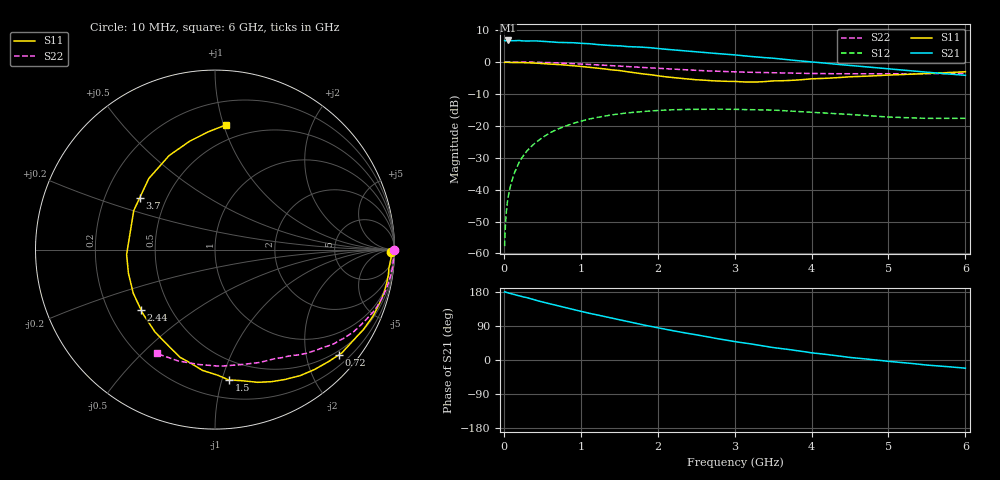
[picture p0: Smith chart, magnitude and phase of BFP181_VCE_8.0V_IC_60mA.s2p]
! Infineon Technologies  Discrete & RF Semiconductors
! BFP181
! VCE = 8.0 V,  IC =  60 mA
! Common Emitter S-Parameters:  Jan 2016
# GHz  S  MA  R  50
!  f  S11  S21  S12  S22
! GHz  MAG  ANG  MAG  ANG  MAG  ANG  MAG  ANG
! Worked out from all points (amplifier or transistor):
!   210 points, 10 MHz to 6 GHz, reference 50 ohm
!   highest |S21| = 6.7 dB at 50 MHz (marker M1)
!   |S21| within 3 dB of that: start of sweep to 2.23 GHz
!   unconditionally stable (mu >= 1): 3.662 GHz to end of sweep
!   at 185 MHz: K = 0.06, MSG = 19.4 dB, |S12| = -32.1 dB
!   at 1.52 GHz: K = 0.45, MSG = 10.6 dB, |S12| = -16.3 dB
!   at 6 GHz: K = 1.38, MAG = 3.1 dB, |S12| = -17.7 dB
!   S11 on the Smith chart (normalised r, x): 10 MHz: 73, -45; 720 MHz: 0.41, -2.67; 1.5 GHz: 0.34, -1.05; 2.44 GHz: 0.34, -0.32; 3.7 GHz: 0.35, +0.27; 6 GHz: 0.38, +1.02
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0.01  0.9803 -0.7  2.147 179.7  0.0013 74.2  0.9989 -0.2
0.015  0.9815 -1.0  2.138 179.6  0.002 82.1  0.9984 -0.4
0.025  0.9825 -1.5  2.133 179.1  0.0034 88.0  0.9978 -0.7
0.05  0.9821 -2.8  2.157 177.4  0.0069 92.1  0.9971 -1.4
0.09  0.9756 -5.1  2.137 175.3  0.0119 85.9  0.9963 -2.5
0.14  0.9758 -7.8  2.134 172.6  0.0185 83.6  0.9956 -3.8
0.26  0.9708 -14.6  2.118 166.2  0.0347 79.6  0.9917 -7.2
0.4  0.956 -22.6  2.129 158.5  0.0527 74.5  0.9844 -10.9
0.72  0.9061 -40.3  2.009 142.2  0.0904 61.9  0.9577 -19.2
1.02  0.8413 -57.2  1.942 127.6  0.119 50.9  0.9198 -26.4
1.1  0.822 -61.7  1.928 123.7  0.1264 48.1  0.91 -28.2
1.5  0.7306 -83.9  1.785 106.2  0.1526 35.8  0.8566 -36.4
1.8  0.648 -101.8  1.693 92.9  0.1663 27.9  0.8153 -41.8
2.02  0.5996 -114.8  1.605 84.2  0.1733 22.3  0.7893 -45.6
2.44  0.5309 -141.0  1.454 68.6  0.1799 12.8  0.7415 -52.5
2.8  0.5004 -164.4  1.339 55.4  0.1813 5.9  0.7104 -57.9
3.1  0.485 177.5  1.246 45.8  0.1789 0.7  0.6895 -62.4
3.7  0.509 145.5  1.075 27.8  0.1702 -7.4  0.6661 -72.1
4.1  0.5455 129.4  0.971 16.8  0.1602 -11.5  0.6536 -79.6
4.5  0.583 116.0  0.878 6.7  0.1498 -14.4  0.6503 -87.6
5.1  0.6258 101.2  0.758 -5.3  0.1352 -14.0  0.6461 -100.0
6  0.6975 85.0  0.614 -21.6  0.1303 -8.4  0.6634 -119.3
